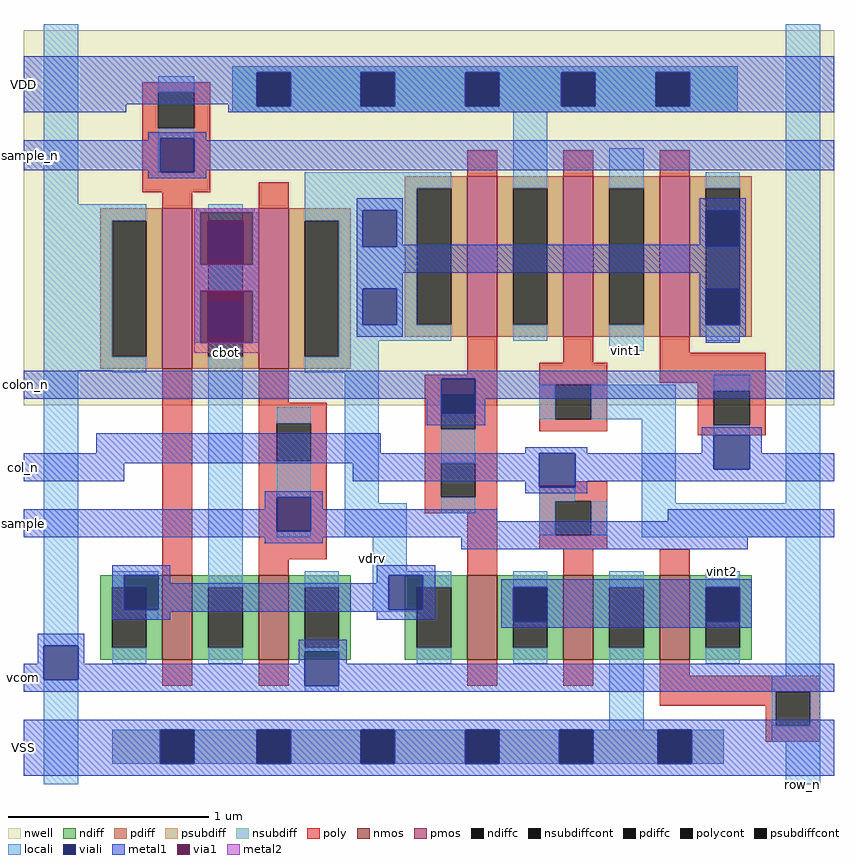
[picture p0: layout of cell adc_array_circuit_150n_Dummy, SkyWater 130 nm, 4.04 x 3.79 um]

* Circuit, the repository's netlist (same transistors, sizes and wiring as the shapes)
* NGSPICE file created from /foss/designs/SKY130_SAR-ADC/mag/adc_array_circuit/adc_array_circuit_150n(Dummy).ext - technology: sky130A

.subckt adc_array_circuit_150n_Dummy
+ vcom sample sample_n col_n colon_n row_n cbot VDD VSS
X0 VDD colon_n vdrv VDD sky130_fd_pr__pfet_01v8 ad=2.64e+11p pd=2.26e+06u as=7.44e+11p ps=6.66e+06u w=800000u l=150000u
X1 VSS col_n vint2 VSS sky130_fd_pr__nfet_01v8 ad=1.386e+11p pd=1.5e+06u as=2.688e+11p ps=2.96e+06u w=420000u l=150000u
X2 vint2 colon_n vdrv VSS sky130_fd_pr__nfet_01v8 ad=0p pd=0u as=2.604e+11p ps=2.92e+06u w=420000u l=150000u
X3 vint2 row_n VSS VSS sky130_fd_pr__nfet_01v8 ad=0p pd=0u as=0p ps=0u w=420000u l=150000u
X4 cbot sample_n vdrv VSS sky130_fd_pr__nfet_01v8 ad=1.386e+11p pd=1.5e+06u as=0p ps=0u w=420000u l=150000u
X5 vdrv col_n vint1 VDD sky130_fd_pr__pfet_01v8 ad=0p pd=0u as=2.64e+11p ps=2.26e+06u w=800000u l=150000u
X6 vcom sample cbot VSS sky130_fd_pr__nfet_01v8 ad=1.302e+11p pd=1.46e+06u as=0p ps=0u w=420000u l=150000u
X7 cbot sample_n vcom VDD sky130_fd_pr__pfet_01v8 ad=2.64e+11p pd=2.26e+06u as=2.48e+11p ps=2.22e+06u w=800000u l=150000u
X8 vdrv sample cbot VDD sky130_fd_pr__pfet_01v8 ad=0p pd=0u as=0p ps=0u w=800000u l=150000u
X9 vint1 row_n VDD VDD sky130_fd_pr__pfet_01v8 ad=0p pd=0u as=0p ps=0u w=800000u l=150000u
.ends

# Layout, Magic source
magic
tech sky130A
<< nwell >>
rect 117 474 521 661
<< nmos >>
rect 186 347 201 389
rect 234 347 249 389
rect 338 347 353 389
rect 386 347 401 389
rect 434 347 449 389
<< pmos >>
rect 186 492 201 572
rect 234 492 249 572
rect 338 508 353 588
rect 386 508 401 588
rect 434 508 449 588
<< ndiff >>
rect 155 383 186 389
rect 155 353 161 383
rect 178 353 186 383
rect 155 347 186 353
rect 201 383 234 389
rect 201 353 209 383
rect 226 353 234 383
rect 201 347 234 353
rect 249 383 280 389
rect 249 353 257 383
rect 274 353 280 383
rect 249 347 280 353
rect 307 383 338 389
rect 307 353 313 383
rect 330 353 338 383
rect 307 347 338 353
rect 353 383 386 389
rect 353 353 361 383
rect 378 353 386 383
rect 353 347 386 353
rect 401 383 434 389
rect 401 353 409 383
rect 426 353 434 383
rect 401 347 434 353
rect 449 383 480 389
rect 449 353 457 383
rect 474 353 480 383
rect 449 347 480 353
<< pdiff >>
rect 307 582 338 588
rect 155 566 186 572
rect 155 498 161 566
rect 178 498 186 566
rect 155 492 186 498
rect 201 566 234 572
rect 201 498 209 566
rect 226 498 234 566
rect 201 492 234 498
rect 249 566 280 572
rect 249 498 257 566
rect 274 498 280 566
rect 307 514 313 582
rect 330 514 338 582
rect 307 508 338 514
rect 353 582 386 588
rect 353 514 361 582
rect 378 514 386 582
rect 353 508 386 514
rect 401 582 434 588
rect 401 514 409 582
rect 426 514 434 582
rect 401 508 434 514
rect 449 582 480 588
rect 449 514 457 582
rect 474 514 480 582
rect 449 508 480 514
rect 249 492 280 498
<< ndiffc >>
rect 161 353 178 383
rect 209 353 226 383
rect 257 353 274 383
rect 313 353 330 383
rect 361 353 378 383
rect 409 353 426 383
rect 457 353 474 383
<< pdiffc >>
rect 161 498 178 566
rect 209 498 226 566
rect 257 498 274 566
rect 313 514 330 582
rect 361 514 378 582
rect 409 514 426 582
rect 457 514 474 582
<< psubdiff >>
rect 161 295 185 312
rect 202 295 233 312
rect 250 295 285 312
rect 302 295 337 312
rect 354 295 384 312
rect 401 295 433 312
rect 450 295 466 312
<< nsubdiff >>
rect 221 640 473 643
rect 221 623 233 640
rect 250 623 285 640
rect 302 623 337 640
rect 354 623 385 640
rect 402 623 432 640
rect 449 623 473 640
rect 221 620 473 623
<< psubdiffcont >>
rect 185 295 202 312
rect 233 295 250 312
rect 285 295 302 312
rect 337 295 354 312
rect 384 295 401 312
rect 433 295 450 312
<< nsubdiffcont >>
rect 233 623 250 640
rect 285 623 302 640
rect 337 623 354 640
rect 385 623 402 640
rect 432 623 449 640
<< poly >>
rect 176 630 210 635
rect 176 612 184 630
rect 202 612 210 630
rect 176 580 210 612
rect 338 588 353 601
rect 386 588 401 601
rect 434 588 449 601
rect 186 572 201 580
rect 234 572 249 585
rect 186 389 201 492
rect 234 475 249 492
rect 338 489 353 508
rect 386 495 401 508
rect 434 500 449 508
rect 317 479 353 489
rect 234 465 268 475
rect 234 446 243 465
rect 260 446 268 465
rect 234 397 268 446
rect 317 462 325 479
rect 342 462 353 479
rect 317 445 353 462
rect 374 484 408 495
rect 434 485 487 500
rect 374 467 382 484
rect 400 467 408 484
rect 374 461 408 467
rect 453 481 487 485
rect 453 464 461 481
rect 479 464 487 481
rect 453 459 487 464
rect 317 428 325 445
rect 342 428 353 445
rect 392 434 408 436
rect 317 420 353 428
rect 234 389 249 397
rect 338 389 353 420
rect 374 426 408 434
rect 374 409 382 426
rect 400 409 408 426
rect 374 402 408 409
rect 386 389 401 402
rect 434 389 449 402
rect 186 334 201 347
rect 234 334 249 347
rect 338 334 353 347
rect 386 334 401 347
rect 434 339 449 347
rect 434 331 514 339
rect 434 324 492 331
rect 487 314 492 324
rect 509 314 514 331
rect 487 306 514 314
<< polycont >>
rect 184 612 202 630
rect 243 446 260 465
rect 325 462 342 479
rect 382 467 400 484
rect 461 464 479 481
rect 325 428 342 445
rect 382 409 400 426
rect 492 314 509 331
<< locali >>
rect 127 574 144 664
rect 221 640 473 643
rect 184 630 202 638
rect 221 623 233 640
rect 250 623 285 640
rect 302 623 337 640
rect 354 623 385 640
rect 402 623 432 640
rect 449 623 473 640
rect 221 620 473 623
rect 184 607 202 612
rect 184 590 185 607
rect 257 582 330 590
rect 127 566 178 574
rect 127 498 161 566
rect 127 491 178 498
rect 127 354 144 491
rect 161 490 178 491
rect 209 566 226 574
rect 161 389 184 391
rect 161 383 167 389
rect 178 367 184 372
rect 209 383 226 498
rect 257 571 313 582
rect 257 566 286 571
rect 274 553 286 566
rect 303 553 313 571
rect 274 532 313 553
rect 274 514 286 532
rect 303 514 313 532
rect 274 506 330 514
rect 361 582 378 620
rect 361 506 378 514
rect 409 582 426 602
rect 274 498 294 506
rect 409 501 426 514
rect 457 582 474 590
rect 457 506 474 514
rect 257 490 294 498
rect 243 465 260 473
rect 243 428 260 446
rect 243 408 260 411
rect 277 425 294 490
rect 374 467 382 484
rect 400 467 442 484
rect 325 445 342 462
rect 277 408 308 425
rect 325 420 342 428
rect 374 426 392 433
rect 374 409 382 426
rect 400 409 408 426
rect 425 425 442 467
rect 461 481 479 489
rect 461 459 479 464
rect 497 425 514 664
rect 425 408 514 425
rect 291 391 308 408
rect 161 345 178 353
rect 209 345 226 353
rect 257 383 274 391
rect 291 389 330 391
rect 291 372 299 389
rect 316 383 330 389
rect 291 371 313 372
rect 257 351 274 353
rect 127 285 144 337
rect 313 345 330 353
rect 361 383 378 391
rect 361 345 378 353
rect 409 383 426 391
rect 257 331 274 334
rect 409 312 426 353
rect 457 383 474 391
rect 457 345 474 353
rect 497 339 514 408
rect 490 331 514 339
rect 490 314 492 331
rect 509 314 514 331
rect 161 295 185 312
rect 202 295 233 312
rect 250 295 285 312
rect 302 295 337 312
rect 354 295 384 312
rect 401 295 433 312
rect 450 295 466 312
rect 490 306 514 314
rect 497 285 514 306
<< viali >>
rect 233 623 250 640
rect 285 623 302 640
rect 337 623 354 640
rect 385 623 402 640
rect 432 623 449 640
rect 185 590 202 607
rect 209 547 226 565
rect 209 508 226 526
rect 127 337 144 354
rect 167 383 184 389
rect 167 372 178 383
rect 178 372 184 383
rect 286 553 303 571
rect 286 514 303 532
rect 457 553 474 571
rect 457 514 474 532
rect 243 411 260 428
rect 325 479 342 487
rect 325 470 342 479
rect 374 433 392 450
rect 461 442 479 459
rect 299 383 316 389
rect 299 372 313 383
rect 313 372 316 383
rect 257 334 274 351
rect 361 366 378 383
rect 457 366 474 383
rect 185 295 202 312
rect 233 295 250 312
rect 285 295 302 312
rect 337 295 354 312
rect 384 295 401 312
rect 433 295 450 312
<< metal1 >>
rect 117 640 521 648
rect 117 624 233 640
rect 117 620 168 624
rect 219 623 233 624
rect 250 623 285 640
rect 302 623 337 640
rect 354 623 385 640
rect 402 623 432 640
rect 449 623 521 640
rect 219 620 521 623
rect 179 607 208 610
rect 179 606 185 607
rect 117 591 185 606
rect 179 590 185 591
rect 202 606 208 607
rect 202 591 521 606
rect 202 590 208 591
rect 179 587 208 590
rect 203 570 232 572
rect 283 571 306 577
rect 202 544 205 570
rect 231 544 234 570
rect 202 531 234 544
rect 202 505 205 531
rect 231 505 234 531
rect 283 553 286 571
rect 303 554 306 571
rect 454 571 477 577
rect 454 554 457 571
rect 303 553 457 554
rect 474 553 477 571
rect 283 540 477 553
rect 283 532 306 540
rect 283 514 286 532
rect 303 514 306 532
rect 283 508 306 514
rect 454 532 477 540
rect 454 514 457 532
rect 474 514 477 532
rect 454 508 477 514
rect 457 505 474 508
rect 117 487 521 491
rect 117 477 325 487
rect 318 470 325 477
rect 342 477 521 487
rect 342 470 347 477
rect 318 464 347 470
rect 153 450 295 460
rect 455 459 485 463
rect 367 450 398 453
rect 455 450 461 459
rect 117 445 374 450
rect 117 436 167 445
rect 281 436 374 445
rect 367 433 374 436
rect 392 442 461 450
rect 479 450 485 459
rect 479 442 521 450
rect 392 436 521 442
rect 392 433 398 436
rect 237 428 266 431
rect 367 430 398 433
rect 237 422 243 428
rect 117 411 243 422
rect 260 422 266 428
rect 260 416 353 422
rect 438 416 521 422
rect 260 411 521 416
rect 117 408 521 411
rect 237 405 266 408
rect 335 402 478 408
rect 161 389 190 394
rect 161 372 167 389
rect 184 385 190 389
rect 293 389 322 394
rect 293 385 299 389
rect 184 372 299 385
rect 316 372 322 389
rect 161 371 322 372
rect 161 367 190 371
rect 293 367 322 371
rect 355 383 480 387
rect 355 366 361 383
rect 378 366 457 383
rect 474 366 480 383
rect 355 363 480 366
rect 124 354 147 360
rect 124 345 127 354
rect 117 337 127 345
rect 144 345 147 354
rect 254 351 278 357
rect 254 345 257 351
rect 144 337 257 345
rect 117 334 257 337
rect 274 345 278 351
rect 274 334 521 345
rect 117 331 521 334
rect 117 312 521 317
rect 117 295 185 312
rect 202 295 233 312
rect 250 295 285 312
rect 302 295 337 312
rect 354 295 384 312
rect 401 295 433 312
rect 450 295 521 312
rect 117 289 521 295
<< via1 >>
rect 205 565 231 570
rect 205 547 209 565
rect 209 547 226 565
rect 226 547 231 565
rect 205 544 231 547
rect 205 526 231 531
rect 205 508 209 526
rect 209 508 226 526
rect 226 508 231 526
rect 205 505 231 508
<< metal2 >>
rect 202 570 234 572
rect 202 544 205 570
rect 231 544 234 570
rect 202 531 234 544
rect 202 505 205 531
rect 231 505 234 531
rect 202 500 234 505
<< labels >>
rlabel metal1 117 436 117 450 7 col_n
port 6 w
rlabel metal1 117 477 117 491 7 colon_n
port 7 w
rlabel metal1 117 331 117 345 7 vcom
port 3 w
rlabel metal1 117 591 117 606 7 sample_n
port 5 w
rlabel metal1 117 408 117 422 7 sample
port 4 w
rlabel metal1 117 289 117 317 7 VSS
port 2 w
rlabel metal1 117 620 117 648 7 VDD
port 1 w
rlabel locali 409 501 426 501 5 vint1
rlabel locali 497 285 514 285 5 row_n
port 8 s
rlabel locali 457 391 474 391 1 vint2
rlabel locali 291 390 291 405 7 vdrv
rlabel metal2 202 500 234 500 5 cbot
port 9 s
<< end >>
